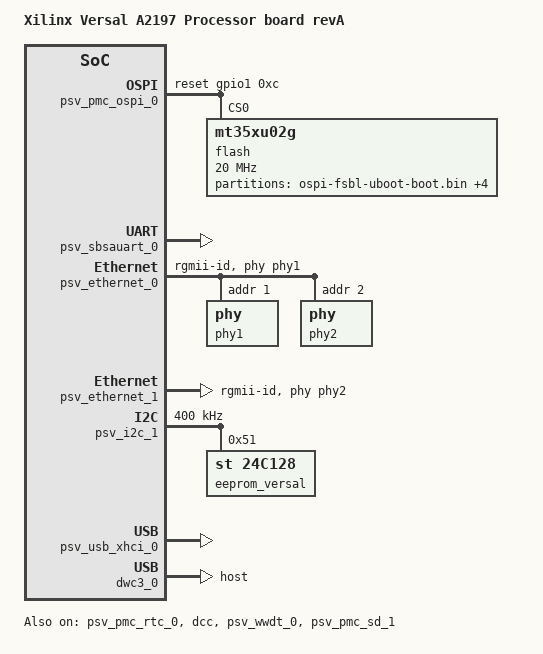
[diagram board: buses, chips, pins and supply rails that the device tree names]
// SPDX-License-Identifier: GPL-2.0
/*
 * dts file for Xilinx Versal X-PRC-01 revA (SE1)
 *
 * (C) Copyright 2019, Xilinx, Inc.
 *
 * Michal Simek <michal.simek@xilinx.com>
 */

#include "include/dt-bindings/gpio/gpio.h"

/ {
        compatible = "xlnx,versal-vc-p-a2197-00-revA",
                     "xlnx,versal-vc-p-a2197-00",
                     "xlnx,versal-vc-p-a2197", "xlnx,versal";
        model = "Xilinx Versal A2197 Processor board revA";

        chosen {
		bootargs = "console=ttyAMA0 earlycon=pl011,mmio32,0xFF000000,115200n8 clk_ignore_unused";
                stdout-path = "serial0:115200";
        };

	aliases {
		serial0 = &psv_sbsauart_0;
		ethernet0 = &psv_ethernet_0;
		ethernet1 = &psv_ethernet_1;
		i2c0 = &psv_i2c_1;
		mmc0 = &psv_pmc_sd_1;
		spi0 = &psv_pmc_ospi_0;
		usb0 = &psv_usb_xhci_0;
		rtc0 = &psv_pmc_rtc_0;
	};

};

&psv_pmc_rtc_0 {
        status = "okay";
};

&psv_gpio_0 {
	status = "okay";
};

&psv_gpio_1 {
	status = "okay";
};

&dcc {
        status = "okay";
};

&psv_wwdt_0 {
        status = "okay";
};

&psv_pmc_qspi_0 {
        status = "disabled"; /* u93 and u92 */
};

&psv_pmc_ospi_0 {
	status = "okay";
	compatible = "xlnx,versal-ospi-1.0", "cadence,qspi", "cdns,qspi-nor";
	bus-num = <2>;
	num-cs = <1>;
	#stream-id-cells = <1>;
	#address-cells = <1>;
	#size-cells = <0>;
	reset-gpios = <&gpio1 0xc GPIO_ACTIVE_HIGH>;

	flash@0 {
		compatible = "mt35xu02g", "micron,m25p80", "spi-flash";
		reg = <0>;
		#address-cells = <0x1>;
		#size-cells = <0x1>;
		cdns,read-delay = <0x0>;
		cdns,tshsl-ns = <0x0>;
		cdns,tsd2d-ns = <0x0>;
		cdns,tchsh-ns = <0x1>;
		cdns,tslch-ns = <0x1>;
		spi-tx-bus-width = <1>;
		spi-rx-bus-width = <8>;
		spi-max-frequency = <20000000>;
		partition@0 { /* for testing purpose */
			label = "ospi-fsbl-uboot-boot.bin";
			reg = <0x0 0x6400000>;
		};
		partition@6400000 { /* for testing purpose */
			label = "ospi-linux";
			reg = <0x6400000 0x500000>;
		};
		partition@6900000 { /* for testing purpose */
			label = "ospi-device-tree";
			reg = <0x6900000 0x20000>;
		};
		partition@6920000 { /* for testing purpose */
			label = "ospi-rootfs";
			reg = <0x6920000 0xa00000>;
		};
		partition@7f40000 {
			label = "ospi-bootenv";
			reg = <0x7f40000 0x40000>;
		};
	};
};

&psv_pmc_sd_1 { /* U104 */
	status = "okay";
	xlnx,mio_bank = <1>;
	no-1-8-v;
};

&psv_sbsauart_0 {
        status = "okay";
};

&psv_ethernet_0 {
	status = "okay";
	phy-handle = <&phy1>; /* u128 */
	phy-mode = "rgmii-id";
	phy1: phy@1 {
		reg = <1>;
		ti,rx-internal-delay = <0xb>;
		ti,tx-internal-delay = <0xa>;
		ti,fifo-depth = <1>;
		ti,dp83867-rxctrl-strap-quirk; /* FIXME - Remove if board is fixed */
	};
	phy2: phy@2 {
		reg = <2>;
		ti,rx-internal-delay = <0xb>;
		ti,tx-internal-delay = <0xa>;
		ti,fifo-depth = <1>;
		ti,dp83867-rxctrl-strap-quirk; /* FIXME -  Remove if board is fixed */
	};
};

&psv_ethernet_1 {
	status = "okay";
	phy-handle = <&phy2>; /* u134 */
	phy-mode = "rgmii-id";
};

&psv_i2c_1 {
	status = "okay";
	clock-frequency = <400000>;
	eeprom_versal: eeprom@51 { /* U116 */
		compatible = "st,24c128", "atmel,24c128";
		reg = <0x51>;
	};

	/* FIXME - U117 and U118 */
};

&psv_usb_xhci_0 {
	status = "okay";
	xlnx,usb-polarity = <0x0>;
	xlnx,usb-reset-mode = <0x0>;
};

&dwc3_0 { /* USB 2.0 host - U99 */
	status = "okay";
	dr_mode = "host";
	maximum-speed = "high-speed";
	snps,dis_u2_susphy_quirk;
	snps,dis_u3_susphy_quirk;
	snps,usb3_lpm_capable;
	phy-names = "usb3-phy";
};
